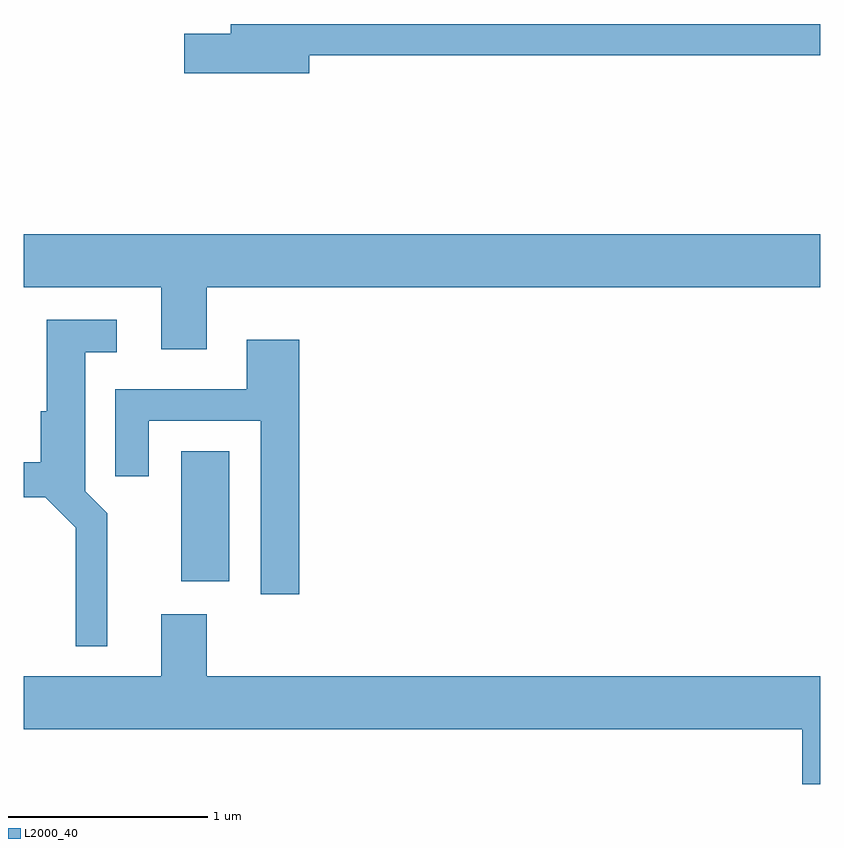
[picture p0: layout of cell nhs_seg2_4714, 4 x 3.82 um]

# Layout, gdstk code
import gdstk
lib = gdstk.Library(unit=1e-6, precision=1e-09)
def R(c, l, rs):  # rectangles x0, y0, x1, y1
    for r in rs: c.add(gdstk.rectangle(r[:2], r[2:], *l))
def P(c, l, *ps):  # polygons
    for p in ps: c.add(gdstk.Polygon(p, *l))
L2000_40 = (2000, 40)

nhs_seg2_4714 = lib.new_cell('nhs_seg2_4714')
R(nhs_seg2_4714, L2000_40, [(324.401,1066.821,324.644,1067.474)])
P(nhs_seg2_4714, L2000_40, [(325.044,1069.461),(327.611,1069.461),(327.611,1069.619),(324.651,1069.619),(324.651,1069.569),(324.416,1069.569),(324.416,1069.371),(325.044,1069.371)],
  [(324.529,1068.296),(327.611,1068.296),(327.611,1068.564),(323.611,1068.564),(323.611,1068.296),(324.301,1068.296),(324.301,1067.986),(324.529,1067.986)],
  [(324.029,1067.162),(323.919,1067.272),(323.919,1067.971),(324.078,1067.971),(324.078,1068.134),(323.726,1068.134),(323.726,1067.674),(323.696,1067.674),(323.696,1067.419),(323.611,1067.419),(323.611,1067.241),(323.719,1067.241),(323.871,1067.089),(323.871,1066.493),(324.029,1066.493)],
  [(324.994,1068.034),(324.731,1068.034),(324.731,1067.784),(324.071,1067.784),(324.071,1067.348),(324.239,1067.348),(324.239,1067.626),(324.801,1067.626),(324.801,1066.756),(324.994,1066.756)],
  [(327.611,1066.344),(324.529,1066.344),(324.529,1066.654),(324.301,1066.654),(324.301,1066.344),(323.611,1066.344),(323.611,1066.076),(327.521,1066.076),(327.521,1065.802),(327.611,1065.802)])

lib.write_gds('nhs_seg2_4714.gds')
